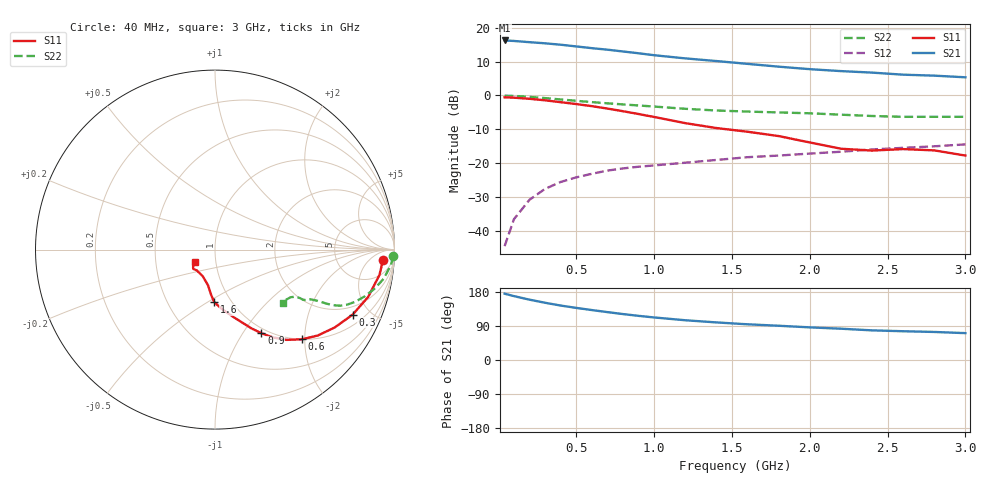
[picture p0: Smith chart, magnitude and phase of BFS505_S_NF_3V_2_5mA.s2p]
! Filename:  BFS505C.S2P  Version:  4.0
! Philips part #: BFS505  Date: Jun 1994
! Bias condition: Vce=3V, Ic=2.5mA
#  MHz  S  MA  R  50
! Freq  S11  S21  S12  S22  !GUM [dB]
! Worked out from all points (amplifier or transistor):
!   21 points, 40 MHz to 3 GHz, reference 50 ohm
!   highest |S21| = 16.2 dB at 40 MHz (marker M1)
!   |S21| within 3 dB of that: start of sweep to 753.4 MHz
!   unconditionally stable (mu >= 1): 1.542 GHz to end of sweep
!   at 300 MHz: K = 0.32, MSG = 21.5 dB, |S12| = -27.5 dB
!   at 1 GHz: K = 0.78, MSG = 16.3 dB, |S12| = -20.6 dB
!   at 3 GHz: K = 1.19, MAG = 7.2 dB, |S12| = -14.4 dB
!   lowest NFmin = 1.10 dB at 500 MHz
!   S11 on the Smith chart (normalised r, x): 40 MHz: 16, -16; 300 MHz: 1.51, -3.90; 600 MHz: 1.00, -1.94; 900 MHz: 0.93, -1.22; 1.6 GHz: 0.84, -0.53; 3 GHz: 0.79, -0.11
40  0.938 -3.6  6.47 175.0  0.006 87.8  0.993 -2.1
100  0.927 -8.8  6.361 168.6  0.015 83.1  0.984 -5.0
200  0.893 -17.2  6.103 159.2  0.029 77.0  0.954 -9.8
300  0.848 -25.3  5.871 151.0  0.042 72.1  0.914 -13.9
400  0.796 -33.0  5.6 143.7  0.053 69.0  0.873 -17.4
500  0.747 -39.8  5.282 137.5  0.062 66.0  0.834 -20.4
600  0.696 -45.9  4.983 131.8  0.07 64.2  0.798 -22.6
700  0.641 -51.7  4.731 126.4  0.078 62.7  0.766 -24.1
800  0.586 -56.6  4.453 121.2  0.084 61.6  0.738 -24.9
900  0.533 -61.0  4.189 116.5  0.089 60.9  0.712 -25.5
1000  0.482 -65.3  3.922 112.3  0.093 60.1  0.686 -25.9
1200  0.391 -74.5  3.521 104.9  0.102 59.3  0.636 -26.6
1400  0.331 -83.8  3.217 99.2  0.112 59.9  0.6 -27.5
1600  0.292 -90.9  2.923 94.2  0.123 60.2  0.579 -29.1
1800  0.252 -95.0  2.658 90.4  0.13 61.3  0.562 -29.7
2000  0.203 -101.0  2.442 86.1  0.139 61.9  0.546 -29.7
2200  0.164 -114.3  2.287 82.6  0.148 62.7  0.521 -30.2
2400  0.154 -130.8  2.172 78.2  0.16 63.1  0.498 -32.2
2600  0.162 -138.6  2.025 75.9  0.169 63.2  0.484 -35.3
2800  0.155 -142.0  1.959 74.0  0.178 64.9  0.485 -37.3
3000  0.13 -148.7  1.852 70.9  0.19 65.5  0.485 -38.2
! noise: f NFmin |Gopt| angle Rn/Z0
500  1.1  0.64  9  0.61
900  1.25  0.581  10  0.65
2000  1.9  0.41  37  0.53
